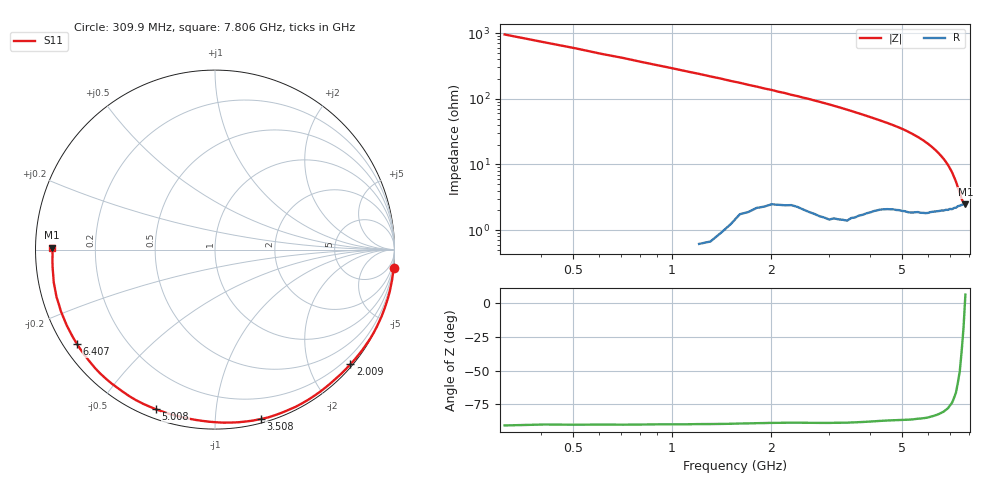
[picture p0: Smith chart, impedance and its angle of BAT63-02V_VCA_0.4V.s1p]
! Infineon Technologies  Discrete & RF Semiconductors
! BAT63-02V
! VCA = 0.4 V
! One-Port S-Parameters
# Hz  S  MA  R  50
!f  S11
!Hz  Mag  Ang
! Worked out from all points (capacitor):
!   76 points, 309.9 MHz to 7.806 GHz, reference 50 ohm
!   read as one part to ground: C = 536 fF near 309.9 MHz
!   lowest |Z| = 2.45 ohm at 7.806 GHz (marker M1)
!   series resonance near 7.78 GHz, so ESL is about 780 pH
!   S11 on the Smith chart (normalised r, x): 309.9 MHz: -0, -19; 2.009 GHz: 0.05, -2.72; 3.508 GHz: 0.03, -1.30; 5.008 GHz: 0.04, -0.70; 6.407 GHz: 0.04, -0.31; 7.806 GHz: 0.05, +0.01
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3.0985e8  1.002 -6.0
8.096e8  1.001 -15.7
1.10945e9  1 -21.7
1.30935e9  0.9987 -25.8
1.6092e9  0.9948 -31.9
1.90905e9  0.9902 -38.5
2.009e9  0.9883 -40.3
2.2089e9  0.9863 -44.6
2.30885e9  0.9848 -47.1
2.6087e9  0.9848 -53.5
2.90855e9  0.9844 -60.5
3.2084e9  0.9821 -67.6
3.50825e9  0.9777 -74.9
3.8081e9  0.9708 -82.3
4.10795e9  0.9622 -89.5
4.50775e9  0.9532 -98.6
5.0075e9  0.9487 -110.3
5.2074e9  0.9479 -115.1
5.4073e9  0.9459 -120.2
5.8071e9  0.9416 -130.1
6.007e9  0.9395 -135.3
6.4068e9  0.9317 -145.5
6.70665e9  0.9276 -153.1
6.90655e9  0.9247 -158.2
7.10645e9  0.9216 -163.3
7.30635e9  0.9168 -168.5
7.6062e9  0.9079 -176.1
7.8061e9  0.907 179.4
